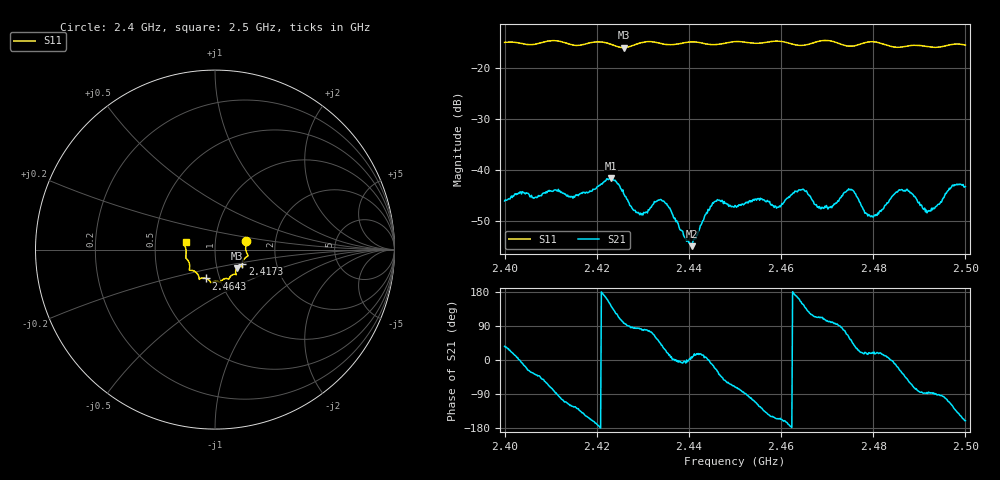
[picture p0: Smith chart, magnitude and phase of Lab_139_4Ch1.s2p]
# Hz S RI R 50
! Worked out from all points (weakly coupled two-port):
!   601 points, 2.4 GHz to 2.5 GHz, reference 50 ohm
!   highest |S21| = -41.63 dB at 2.423 GHz (marker M1); lowest = -55.0 dB at 2.4407 GHz (marker M2)
!   lowest |S11| = -15.9 dB at 2.4258 GHz (marker M3), VSWR 1.38, Z = 62.4 - j13.2 ohm
!   |S11| at or under -10 dB: start of sweep to end of sweep
!   S12 and S22 are empty: the file has one direction only
!   S11 on the Smith chart (normalised r, x): 2.4 GHz: 1.41, +0.14; 2.4173 GHz: 1.34, -0.23; 2.4643 GHz: 0.86, -0.28; 2.5 GHz: 0.72, +0.06
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2.4e9  0.1731 0.049  0.00399 0.00292  0 0  0 0
2.416667e9  0.1527 -0.0744  -0.00435 -0.00403  0 0  0 0
2.417333e9  0.1519 -0.082  -0.00485 -0.00352  0 0  0 0
2.423e9  0.1454 -0.0938  -0.00681 0.00473  0 0  0 0
2.425833e9  0.1222 -0.1035  -0.000715 0.00578  0 0  0 0
2.4295e9  0.1165 -0.1347  0.000501 0.00372  0 0  0 0
2.433333e9  0.1126 -0.1377  0.00312 0.00398  0 0  0 0
2.440667e9  0.078 -0.1647  0.00177 0.000173  0 0  0 0
2.445667e9  0.0505 -0.1633  0.00453 -0.00182  0 0  0 0
2.45e9  0.0287 -0.181  0.00142 -0.00423  0 0  0 0
2.455333e9  -0.00103 -0.1768  -0.00273 -0.00421  0 0  0 0
2.4595e9  -0.0233 -0.1834  -0.00391 -0.00178  0 0  0 0
2.464333e9  -0.05 -0.1605  -0.00572 0.00282  0 0  0 0
2.466667e9  -0.0759 -0.1591  -0.00253 0.00444  0 0  0 0
2.4705e9  -0.088 -0.1647  -0.000891 0.00419  0 0  0 0
2.475167e9  -0.1079 -0.1251  0.00382 0.00518  0 0  0 0
2.479667e9  -0.143 -0.1138  0.00336 0.00106  0 0  0 0
2.483333e9  -0.1408 -0.0897  0.00479 0.000429  0 0  0 0
2.487333e9  -0.1568 -0.0537  0.00418 -0.00492  0 0  0 0
2.492e9  -0.161 -0.0256  0.000352 -0.00396  0 0  0 0
2.497333e9  -0.17 0.0288  -0.00392 -0.00591  0 0  0 0
2.5e9  -0.1637 0.0427  -0.00644 -0.00232  0 0  0 0
